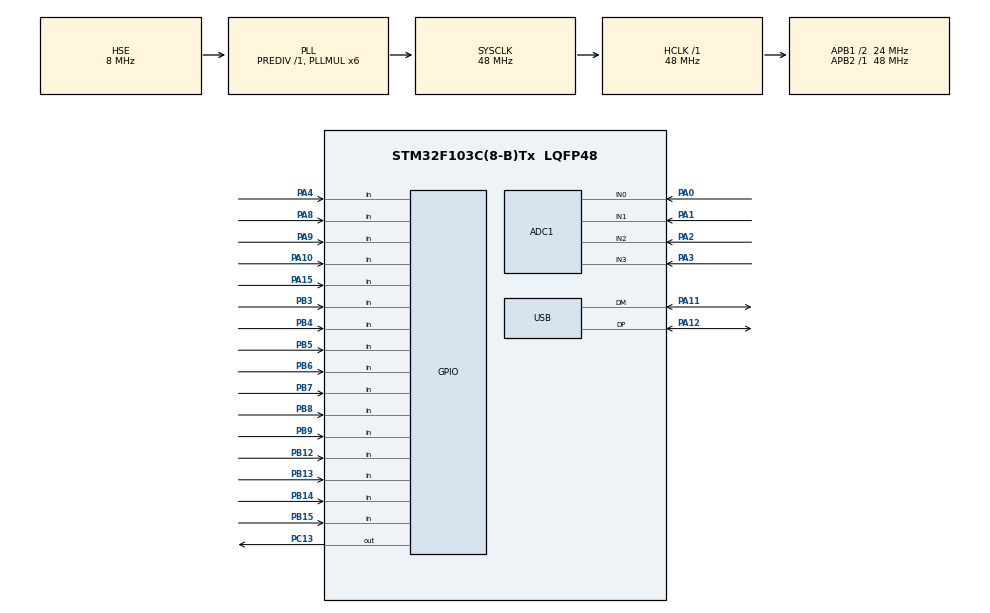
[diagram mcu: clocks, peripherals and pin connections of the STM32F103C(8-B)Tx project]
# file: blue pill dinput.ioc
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ADC1.Channel-0\#ChannelRegularConversion=ADC_CHANNEL_0
ADC1.Channel-1\#ChannelRegularConversion=ADC_CHANNEL_1
ADC1.Channel-2\#ChannelRegularConversion=ADC_CHANNEL_2
ADC1.Channel-3\#ChannelRegularConversion=ADC_CHANNEL_3
ADC1.ContinuousConvMode=ENABLE
ADC1.NbrOfConversion=4
ADC1.NbrOfConversionFlag=1
ADC1.Rank-0\#ChannelRegularConversion=1
ADC1.Rank-1\#ChannelRegularConversion=2
ADC1.Rank-2\#ChannelRegularConversion=3
ADC1.Rank-3\#ChannelRegularConversion=4
ADC1.SamplingTime-0\#ChannelRegularConversion=ADC_SAMPLETIME_239CYCLES_5
ADC1.SamplingTime-1\#ChannelRegularConversion=ADC_SAMPLETIME_239CYCLES_5
ADC1.SamplingTime-2\#ChannelRegularConversion=ADC_SAMPLETIME_239CYCLES_5
ADC1.SamplingTime-3\#ChannelRegularConversion=ADC_SAMPLETIME_239CYCLES_5
ADC1.master=1
Dma.ADC1.0.Direction=DMA_PERIPH_TO_MEMORY
Dma.ADC1.0.Instance=DMA1_Channel1
Dma.ADC1.0.MemDataAlignment=DMA_MDATAALIGN_HALFWORD
Dma.ADC1.0.MemInc=DMA_MINC_ENABLE
Dma.ADC1.0.Mode=DMA_CIRCULAR
Dma.ADC1.0.PeriphDataAlignment=DMA_PDATAALIGN_HALFWORD
Dma.ADC1.0.PeriphInc=DMA_PINC_DISABLE
Dma.ADC1.0.Priority=DMA_PRIORITY_HIGH
Dma.Request0=ADC1
Mcu.Family=STM32F1
Mcu.Name=STM32F103C(8-B)Tx
Mcu.Package=LQFP48
NVIC.ADC1_2_IRQn=true\:0\:0\:false\:false\:true\:true\:true\:true
NVIC.DMA1_Channel1_IRQn=true\:0\:0\:false\:false\:true\:false\:true\:true
NVIC.PriorityGroup=NVIC_PRIORITYGROUP_4
NVIC.TIM2_IRQn=true\:0\:0\:false\:false\:true\:true\:true\:true
NVIC.USB_LP_CAN1_RX0_IRQn=true\:0\:0\:false\:false\:true\:false\:true\:true
PA0-WKUP.Signal=ADCx_IN0
PA1.Signal=ADCx_IN1
PA10.GPIO_PuPd=GPIO_PULLUP
PA10.Signal=GPIO_Input
PA11.Mode=Device
PA11.Signal=USB_DM
PA12.Mode=Device
PA12.Signal=USB_DP
PA13.Mode=Serial_Wire
PA13.Signal=SYS_JTMS-SWDIO
PA14.Mode=Serial_Wire
PA14.Signal=SYS_JTCK-SWCLK
PA15.GPIO_PuPd=GPIO_PULLUP
PA15.Signal=GPIO_Input
PA2.Signal=ADCx_IN2
PA3.Signal=ADCx_IN3
PA4.GPIO_PuPd=GPIO_PULLUP
PA4.Signal=GPIO_Input
PA8.GPIO_PuPd=GPIO_PULLUP
PA8.Signal=GPIO_Input
PA9.GPIO_PuPd=GPIO_PULLUP
PA9.Signal=GPIO_Input
PB12.GPIO_PuPd=GPIO_PULLUP
PB12.Signal=GPIO_Input
PB13.GPIO_PuPd=GPIO_PULLUP
PB13.Signal=GPIO_Input
PB14.GPIO_PuPd=GPIO_PULLUP
PB14.Signal=GPIO_Input
PB15.GPIO_PuPd=GPIO_PULLUP
PB15.Signal=GPIO_Input
PB3.GPIO_PuPd=GPIO_PULLUP
PB3.Signal=GPIO_Input
PB4.GPIO_PuPd=GPIO_PULLUP
PB4.Signal=GPIO_Input
PB5.GPIO_PuPd=GPIO_PULLUP
PB5.Signal=GPIO_Input
PB6.GPIO_PuPd=GPIO_PULLUP
PB6.Signal=GPIO_Input
PB7.GPIO_PuPd=GPIO_PULLUP
PB7.Signal=GPIO_Input
PB8.GPIO_PuPd=GPIO_PULLUP
PB8.Signal=GPIO_Input
PB9.GPIO_PuPd=GPIO_PULLUP
PB9.Signal=GPIO_Input
PC13-TAMPER-RTC.Signal=GPIO_Output
PD0-OSC_IN.Mode=HSE-External-Oscillator
PD0-OSC_IN.Signal=RCC_OSC_IN
PD1-OSC_OUT.Mode=HSE-External-Oscillator
PD1-OSC_OUT.Signal=RCC_OSC_OUT
ProjectManager.HeapSize=0x200
ProjectManager.StackSize=0x400
ProjectManager.TargetToolchain=STM32CubeIDE
RCC.ADCPresc=RCC_ADCPCLK2_DIV4
RCC.AHBFreq_Value=48000000
RCC.APB1CLKDivider=RCC_HCLK_DIV2
RCC.APB1Freq_Value=24000000
RCC.APB1TimFreq_Value=48000000
RCC.APB2Freq_Value=48000000
RCC.APB2TimFreq_Value=48000000
RCC.HCLKFreq_Value=48000000
RCC.PLLMUL=RCC_PLL_MUL6
RCC.SYSCLKFreq_VALUE=48000000
RCC.SYSCLKSource=RCC_SYSCLKSOURCE_PLLCLK
RCC.USBFreq_Value=48000000
SH.ADCx_IN0.0=ADC1_IN0,IN0
SH.ADCx_IN1.0=ADC1_IN1,IN1
SH.ADCx_IN2.0=ADC1_IN2,IN2
SH.ADCx_IN3.0=ADC1_IN3,IN3
TIM2.Period=999
TIM2.Prescaler=47999
USB_DEVICE.CLASS_NAME_FS=HID
USB_DEVICE.MANUFACTURER_STRING=Pie1722
USB_DEVICE.PRODUCT_STRING_HID_FS=BluePill
USB_DEVICE.VirtualMode=Hid
USB_DEVICE.VirtualModeFS=Hid_FS
VP_TIM2_VS_ClockSourceINT.Mode=Internal
VP_USB_DEVICE_VS_USB_DEVICE_HID_FS.Mode=HID_FS
board=custom

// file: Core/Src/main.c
/* USER CODE BEGIN Header */
/**
  ******************************************************************************
  * @file           : main.c
  * @brief          : Main program body
  ******************************************************************************
  * @attention
  *
  * Copyright (c) 2025 STMicroelectronics.
  * All rights reserved.
  *
  * This software is licensed under terms that can be found in the LICENSE file
  * in the root directory of this software component.
  * If no LICENSE file comes with this software, it is provided AS-IS.
  *
  ******************************************************************************
  */
/* USER CODE END Header */
#include "main.h"
#include "usb_device.h"

/* USER CODE BEGIN Includes */
#include "usbd_hid.h"
#include "stm32f1xx_hal.h"
#include "stm32f1xx_hal_adc.h"
extern USBD_HandleTypeDef hUsbDeviceFS;
/* USER CODE END Includes */

/* USER CODE BEGIN PTD */
int32_t map(int32_t x, int32_t in_min, int32_t in_max, int32_t out_min, int32_t out_max); // early declaration
int abs(int x);
/* USER CODE END PTD */

/* USER CODE BEGIN PD */
typedef struct __attribute__((packed)) {
    uint16_t buttons;
    uint8_t hat;
    int16_t x, y, za, zr;
} joystickReport;

/* USER CODE END PD */

ADC_HandleTypeDef hadc1;
DMA_HandleTypeDef hdma_adc1;

TIM_HandleTypeDef htim2;
int ledState = 0;

void SystemClock_Config(void);
static void MX_GPIO_Init(void);
static void MX_DMA_Init(void);
static void MX_ADC1_Init(void);
static void MX_TIM2_Init(void);

/* USER CODE BEGIN 0 */
volatile uint16_t adcVal[4] = {0};
int8_t adcValueReady;
uint32_t x,y,lx,ly;
uint16_t xRightStickValue_ADC, yRightStickValue_ADC, yLeftStickValue_ADC, xLeftStickValue_ADC;
uint16_t xRightCenter, yRightCenter, xLeftCenter, yLeftCenter;
int8_t count;

uint8_t get_hat_value(void)
{
	uint8_t up    = !HAL_GPIO_ReadPin(GPIOB, GPIO_PIN_3);
	uint8_t down  = !HAL_GPIO_ReadPin(GPIOB, GPIO_PIN_4);
	uint8_t left  = !HAL_GPIO_ReadPin(GPIOA, GPIO_PIN_15);
	uint8_t right = !HAL_GPIO_ReadPin(GPIOB, GPIO_PIN_5);

	if (up && right)   return 1;  // Up-Right
    if (right && down) return 3;  // Down-Right
    if (down && left)  return 5;  // Down-Left
    if (left && up)    return 7;  // Up-Left
	if (up)            return 0;  // Up
    if (right)         return 2;  // Right
    if (down)          return 4;  // Down
    if (left)          return 6;  // Left

    return 0x0F;  // Neutral
}

void send_gamepad_report(void)
{

	joystickReport report = {0};

    // ---- Buttons: Read 10 GPIOs  ----
    report.buttons |= !HAL_GPIO_ReadPin(GPIOB, GPIO_PIN_12) ? (1 << 0) : 0;		//X
    report.buttons |= !HAL_GPIO_ReadPin(GPIOB, GPIO_PIN_14) ? (1 << 1) : 0;   	//A
    report.buttons |= !HAL_GPIO_ReadPin(GPIOB, GPIO_PIN_15) ? (1 << 2) : 0;		//B
    report.buttons |= !HAL_GPIO_ReadPin(GPIOB, GPIO_PIN_13) ? (1 << 3) : 0;		//Y
    report.buttons |= !HAL_GPIO_ReadPin(GPIOA, GPIO_PIN_9)  ? (1 << 4) : 0;		// LB
    report.buttons |= !HAL_GPIO_ReadPin(GPIOA, GPIO_PIN_4)  ? (1 << 5) : 0;		// RB
    report.buttons |= !HAL_GPIO_ReadPin(GPIOA, GPIO_PIN_8)  ? (1 << 6) : 0;		// LT
    report.buttons |= !HAL_GPIO_ReadPin(GPIOA, GPIO_PIN_10) ? (1 << 7) : 0;		// RT
    report.buttons |= !HAL_GPIO_ReadPin(GPIOB, GPIO_PIN_8)  ? (1 << 8) : 0;		// Back
    report.buttons |= !HAL_GPIO_ReadPin(GPIOB, GPIO_PIN_9)  ? (1 << 9) : 0;		// Start
    report.buttons |= !HAL_GPIO_ReadPin(GPIOB, GPIO_PIN_6)  ? (1 << 10) : 0;	// L3 / scl
    report.buttons |= !HAL_GPIO_ReadPin(GPIOB, GPIO_PIN_7)  ? (1 << 11) : 0;	// R3 / sda

    // ---- Hat switch ----
    report.hat = get_hat_value();

    // ---- Axes: ADC static data ----

	int16_t drx = xRightStickValue_ADC - xRightCenter;
	int16_t dry = yRightStickValue_ADC - yRightCenter;
	int16_t dlx = xLeftStickValue_ADC  - xLeftCenter;
	int16_t dly = yLeftStickValue_ADC  - yLeftCenter;

	// dead-zone (kill noise around center)
	if (abs(drx) < 50) drx = 0;
	if (abs(dry) < 50) dry = 0;
	if (abs(dlx) < 50) dlx = 0;
	if (abs(dly) < 50) dly = 0;

	// end-zones (clip to safe ADC span)
	if (drx >  2047) drx =  2047;
	if (drx < -2047) drx = -2047;

	if (dry >  2047) dry =  2047;
	if (dry < -2047) dry = -2047;

	if (dlx >  2047) dlx =  2047;
	if (dlx < -2047) dlx = -2047;

	if (dly >  2047) dly =  2047;
	if (dly < -2047) dly = -2047;

//	report.x = (int16_t)map( xRightStickValue_ADC, 0, 4095, INT16_MIN, INT16_MAX );
//	report.y = (int16_t)map( yRightStickValue_ADC, 0, 4095, INT16_MIN, INT16_MAX );
//	report.zr = (int16_t)map( yLeftStickValue_ADC, 0, 4095, INT16_MIN, INT16_MAX );
//	report.za = (int16_t)map( xLeftStickValue_ADC, 0, 4095, INT16_MIN, INT16_MAX );

	report.x = (int16_t)map( drx, -2047, 2047, INT16_MIN, INT16_MAX );
	report.y = (int16_t)map( dry, -2047, 2047, INT16_MIN, INT16_MAX );
	report.zr = (int16_t)map( dlx, -2047, 2047, INT16_MIN, INT16_MAX );
	report.za = (int16_t)map( dly, -2047, 2047, INT16_MIN, INT16_MAX );

	adcValueReady = 0;

    // ---- Send 11-byte report ----
    USBD_HID_SendReport(&hUsbDeviceFS, (uint8_t*)&report, sizeof(report));
}
/* USER CODE END 0 */

int main(void)
{

  /* MCU Configuration--------------------------------------------------------*/

  /* Reset of all peripherals, Initializes the Flash interface and the Systick. */
  HAL_Init();

  /* Configure the system clock */
  SystemClock_Config();

  /* Initialize all configured peripherals */
  MX_GPIO_Init();
  MX_DMA_Init();
  MX_ADC1_Init();
  MX_TIM2_Init();
  MX_USB_DEVICE_Init();
  /* USER CODE BEGIN 2 */

  HAL_ADC_Start_DMA(&hadc1, (uint32_t*)adcVal, 4);
  HAL_TIM_Base_Start_IT(&htim2);

  while (!adcValueReady);   // wait for first averaged ADC frame

  xRightCenter = xRightStickValue_ADC;
  yRightCenter = yRightStickValue_ADC;
  xLeftCenter = xLeftStickValue_ADC;
  yLeftCenter = yLeftStickValue_ADC;
  /* USER CODE END 2 */

  /* Infinite loop */
  while (1)
  {
      send_gamepad_report();
  }
}

void SystemClock_Config(void)
{
  RCC_OscInitTypeDef RCC_OscInitStruct = {0};
  RCC_ClkInitTypeDef RCC_ClkInitStruct = {0};
  RCC_PeriphCLKInitTypeDef PeriphClkInit = {0};

  /** Initializes the RCC Oscillators according to the specified parameters
  * in the RCC_OscInitTypeDef structure.
  */
  RCC_OscInitStruct.OscillatorType = RCC_OSCILLATORTYPE_HSE;
  RCC_OscInitStruct.HSEState = RCC_HSE_ON;
  RCC_OscInitStruct.HSEPredivValue = RCC_HSE_PREDIV_DIV1;
  RCC_OscInitStruct.HSIState = RCC_HSI_ON;
  RCC_OscInitStruct.PLL.PLLState = RCC_PLL_ON;
  RCC_OscInitStruct.PLL.PLLSource = RCC_PLLSOURCE_HSE;
  RCC_OscInitStruct.PLL.PLLMUL = RCC_PLL_MUL6;
  if (HAL_RCC_OscConfig(&RCC_OscInitStruct) != HAL_OK)
  {
    Error_Handler();
  }

  /** Initializes the CPU, AHB and APB buses clocks
  */
  RCC_ClkInitStruct.ClockType = RCC_CLOCKTYPE_HCLK|RCC_CLOCKTYPE_SYSCLK
                              |RCC_CLOCKTYPE_PCLK1|RCC_CLOCKTYPE_PCLK2;
  RCC_ClkInitStruct.SYSCLKSource = RCC_SYSCLKSOURCE_PLLCLK;
  RCC_ClkInitStruct.AHBCLKDivider = RCC_SYSCLK_DIV1;
  RCC_ClkInitStruct.APB1CLKDivider = RCC_HCLK_DIV2;
  RCC_ClkInitStruct.APB2CLKDivider = RCC_HCLK_DIV1;

  if (HAL_RCC_ClockConfig(&RCC_ClkInitStruct, FLASH_LATENCY_1) != HAL_OK)
  {
    Error_Handler();
  }
  PeriphClkInit.PeriphClockSelection = RCC_PERIPHCLK_ADC|RCC_PERIPHCLK_USB;
  PeriphClkInit.AdcClockSelection = RCC_ADCPCLK2_DIV4;
  PeriphClkInit.UsbClockSelection = RCC_USBCLKSOURCE_PLL;
  if (HAL_RCCEx_PeriphCLKConfig(&PeriphClkInit) != HAL_OK)
  {
    Error_Handler();
  }
}

static void MX_ADC1_Init(void)
{

  ADC_ChannelConfTypeDef sConfig = {0};

  /** Common config
  */
  hadc1.Instance = ADC1;
  hadc1.Init.ScanConvMode = ADC_SCAN_ENABLE;
  hadc1.Init.ContinuousConvMode = ENABLE;
  hadc1.Init.DiscontinuousConvMode = DISABLE;
  hadc1.Init.ExternalTrigConv = ADC_SOFTWARE_START;
  hadc1.Init.DataAlign = ADC_DATAALIGN_RIGHT;
  hadc1.Init.NbrOfConversion = 4;
  if (HAL_ADC_Init(&hadc1) != HAL_OK)
  {
    Error_Handler();
  }

  /** Configure Regular Channel
  */
  sConfig.Channel = ADC_CHANNEL_0;
  sConfig.Rank = ADC_REGULAR_RANK_1;
  sConfig.SamplingTime = ADC_SAMPLETIME_239CYCLES_5;
  if (HAL_ADC_ConfigChannel(&hadc1, &sConfig) != HAL_OK)
  {
    Error_Handler();
  }

  /** Configure Regular Channel
  */
  sConfig.Channel = ADC_CHANNEL_1;
  sConfig.Rank = ADC_REGULAR_RANK_2;
  if (HAL_ADC_ConfigChannel(&hadc1, &sConfig) != HAL_OK)
  {
    Error_Handler();
  }

  /** Configure Regular Channel
  */
  sConfig.Channel = ADC_CHANNEL_2;
  sConfig.Rank = ADC_REGULAR_RANK_3;
  if (HAL_ADC_ConfigChannel(&hadc1, &sConfig) != HAL_OK)
  {
    Error_Handler();
  }

  /** Configure Regular Channel
  */
  sConfig.Channel = ADC_CHANNEL_3;
  sConfig.Rank = ADC_REGULAR_RANK_4;
  if (HAL_ADC_ConfigChannel(&hadc1, &sConfig) != HAL_OK)
  {
    Error_Handler();
  }

}

static void MX_TIM2_Init(void)
{

  TIM_ClockConfigTypeDef sClockSourceConfig = {0};
  TIM_MasterConfigTypeDef sMasterConfig = {0};

  htim2.Instance = TIM2;
  htim2.Init.Prescaler = 47999;
  htim2.Init.CounterMode = TIM_COUNTERMODE_UP;
  htim2.Init.Period = 999;
  htim2.Init.ClockDivision = TIM_CLOCKDIVISION_DIV1;
  htim2.Init.AutoReloadPreload = TIM_AUTORELOAD_PRELOAD_DISABLE;
  if (HAL_TIM_Base_Init(&htim2) != HAL_OK)
  {
    Error_Handler();
  }
  sClockSourceConfig.ClockSource = TIM_CLOCKSOURCE_INTERNAL;
  if (HAL_TIM_ConfigClockSource(&htim2, &sClockSourceConfig) != HAL_OK)
  {
    Error_Handler();
  }
  sMasterConfig.MasterOutputTrigger = TIM_TRGO_RESET;
  sMasterConfig.MasterSlaveMode = TIM_MASTERSLAVEMODE_DISABLE;
  if (HAL_TIMEx_MasterConfigSynchronization(&htim2, &sMasterConfig) != HAL_OK)
  {
    Error_Handler();
  }

}

void HAL_TIM_PeriodElapsedCallback(TIM_HandleTypeDef *htim)
{
    if (htim->Instance == TIM2)
    {
        HAL_GPIO_TogglePin(GPIOC, GPIO_PIN_13); // or your LED pin
    }
}

static void MX_DMA_Init(void)
{

  /* DMA controller clock enable */
  __HAL_RCC_DMA1_CLK_ENABLE();

  /* DMA interrupt init */
  /* DMA1_Channel1_IRQn interrupt configuration */
  HAL_NVIC_SetPriority(DMA1_Channel1_IRQn, 0, 0);
  HAL_NVIC_EnableIRQ(DMA1_Channel1_IRQn);

}

/**	ADC ISR
*		Handles the values from ADC after the conversion finished
*/
void HAL_ADC_ConvCpltCallback(ADC_HandleTypeDef* hadc) {

	if ( adcValueReady == 0 ) {
		x  += adcVal[2];
		y  += adcVal[3];
		lx += adcVal[0];
		ly += adcVal[1];

		count++;

	}
    // after 100 samples, average them
    if (count >= 100) {

        xRightStickValue_ADC = x / 100;
        yRightStickValue_ADC = y / 100;
        xLeftStickValue_ADC  = lx / 100;
        yLeftStickValue_ADC  = ly / 100;

        // reset for next round
        x = 0;
        y = 0;
        lx = 0;
        ly = 0;
        count = 0;

        adcValueReady = 1;
    }
}

static void MX_GPIO_Init(void)
{
  GPIO_InitTypeDef GPIO_InitStruct = {0};

  /* GPIO Ports Clock Enable */
  __HAL_RCC_GPIOC_CLK_ENABLE();
  __HAL_RCC_GPIOD_CLK_ENABLE();
  __HAL_RCC_GPIOA_CLK_ENABLE();
  __HAL_RCC_GPIOB_CLK_ENABLE();

  /*Configure GPIO pin Output Level */
  HAL_GPIO_WritePin(GPIOC, GPIO_PIN_13, GPIO_PIN_RESET);

  /*Configure GPIO pin : PC13 */
  GPIO_InitStruct.Pin = GPIO_PIN_13;
  GPIO_InitStruct.Mode = GPIO_MODE_OUTPUT_PP;
  GPIO_InitStruct.Pull = GPIO_NOPULL;
  GPIO_InitStruct.Speed = GPIO_SPEED_FREQ_LOW;
  HAL_GPIO_Init(GPIOC, &GPIO_InitStruct);

  /*Configure GPIO pins : PA4 PA8 PA9 PA10
                           PA15 */
  GPIO_InitStruct.Pin = GPIO_PIN_4|GPIO_PIN_8|GPIO_PIN_9|GPIO_PIN_10
                          |GPIO_PIN_15;
  GPIO_InitStruct.Mode = GPIO_MODE_INPUT;
  GPIO_InitStruct.Pull = GPIO_PULLUP;
  HAL_GPIO_Init(GPIOA, &GPIO_InitStruct);

  /*Configure GPIO pins : PB12 PB13 PB14 PB15
                           PB3 PB4 PB5 PB6
                           PB7 PB8 PB9 */
  GPIO_InitStruct.Pin = GPIO_PIN_12|GPIO_PIN_13|GPIO_PIN_14|GPIO_PIN_15
                          |GPIO_PIN_3|GPIO_PIN_4|GPIO_PIN_5|GPIO_PIN_6
                          |GPIO_PIN_7|GPIO_PIN_8|GPIO_PIN_9;
  GPIO_InitStruct.Mode = GPIO_MODE_INPUT;
  GPIO_InitStruct.Pull = GPIO_PULLUP;
  HAL_GPIO_Init(GPIOB, &GPIO_InitStruct);

}

/* USER CODE BEGIN 4 */
int32_t map(int32_t x, int32_t in_min, int32_t in_max, int32_t out_min, int32_t out_max){
  return (x - in_min) * (out_max - out_min) / (in_max - in_min) + out_min;
}

int abs(int x)
{
    if (x < 0)
        return -x;
    else
        return x;
}
/* USER CODE END 4 */

void Error_Handler(void)
{
  __disable_irq();
  while (1)
  {
  }
}
